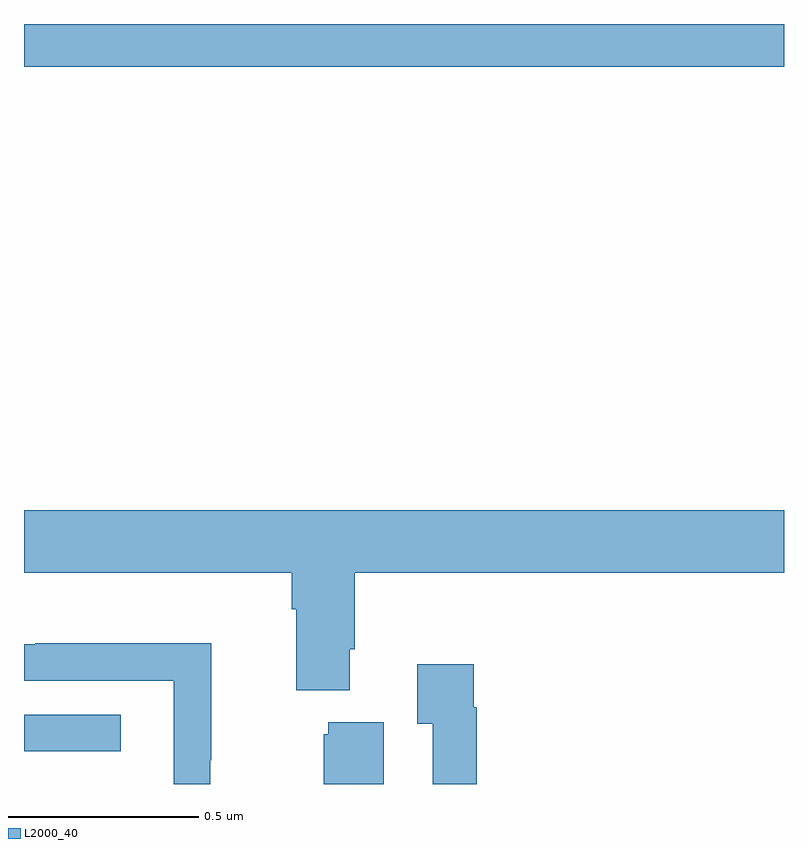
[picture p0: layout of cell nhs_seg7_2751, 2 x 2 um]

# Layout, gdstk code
import gdstk
lib = gdstk.Library(unit=1e-6, precision=1e-09)
def R(c, l, rs):  # rectangles x0, y0, x1, y1
    for r in rs: c.add(gdstk.rectangle(r[:2], r[2:], *l))
def P(c, l, *ps):  # polygons
    for p in ps: c.add(gdstk.Polygon(p, *l))
L2000_40 = (2000, 40)

nhs_seg7_2751 = lib.new_cell('nhs_seg7_2751')
R(nhs_seg7_2751, L2000_40, [(149,1060.086,149.254,1060.182), (149,1061.888,151,1062)])
P(nhs_seg7_2751, L2000_40, [(149.857,1060.354),(149.87,1060.354),(149.87,1060.556),(151,1060.556),(151,1060.72),(149,1060.72),(149,1060.556),(149.705,1060.556),(149.705,1060.46),(149.717,1060.46),(149.717,1060.247),(149.857,1060.247)],
  [(149.49,1060.063),(149.493,1060.063),(149.493,1060.37),(149.029,1060.37),(149.029,1060.368),(149,1060.368),(149,1060.272),(149.394,1060.272),(149.394,1060),(149.49,1060)],
  [(150.191,1060.202),(150.184,1060.202),(150.184,1060.315),(150.035,1060.315),(150.035,1060.159),(150.075,1060.159),(150.075,1060),(150.191,1060)],
  [(149.947,1060.162),(149.801,1060.162),(149.801,1060.131),(149.789,1060.131),(149.789,1060),(149.947,1060)])

lib.write_gds('nhs_seg7_2751.gds')
